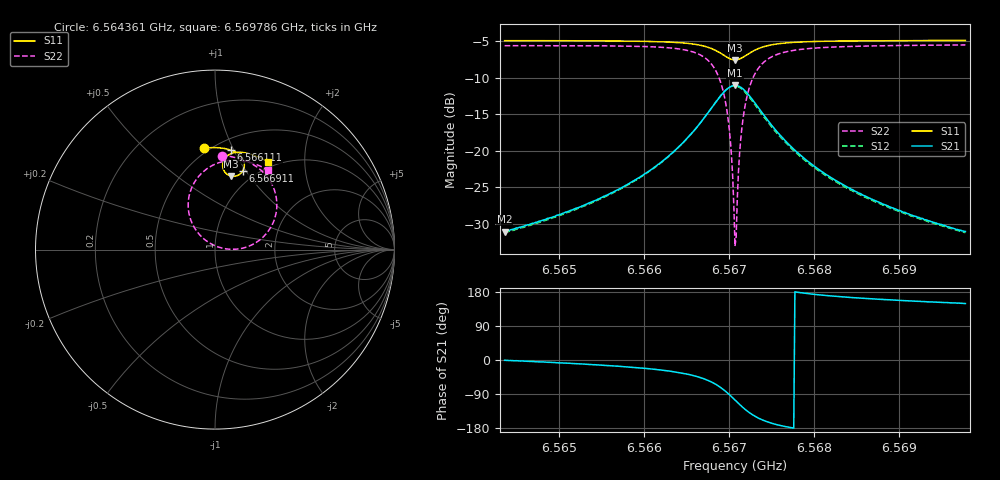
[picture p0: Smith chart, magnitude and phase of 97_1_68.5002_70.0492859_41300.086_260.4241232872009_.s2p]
#  HZ  S  RI  R  50.00
! Rohde & Schwarz Vector Network Analyzer
! Rohde-Schwarz,ZNB20-2Port,1311601062101988,3.16
! Created: UTC 3/20/2024, 5:08:02 PM
! freq[Hz]  re:S11  im:S11  re:S21  im:S21  re:S12  im:S12  re:S22  im:S22
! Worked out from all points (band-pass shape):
!   401 points, 6.564361 GHz to 6.569786 GHz, reference 50 ohm
!   highest |S21| = -11.03 dB at 6.567073 GHz (marker M1); lowest = -31.1 dB at 6.564361 GHz (marker M2)
!   |S21| within 3 dB of the highest: 6.566802 GHz to 6.567346 GHz (543.2 kHz wide, 0.00827 % of centre)
!   lowest |S11| = -7.5 dB at 6.567073 GHz (marker M3), VSWR 2.45, Z = 41.4 + j41.1 ohm
!   |S11| at or under -10 dB: nowhere
!   |S22| runs from -33.0 to -5.5 dB; largest |S21 - S12| = 0.013
!   S11 on the Smith chart (normalised r, x): 6.564361 GHz: 0.47, +0.78; 6.566111 GHz: 0.60, +0.98; 6.566911 GHz: 0.86, +0.97; 6.569786 GHz: 0.91, +1.33
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6.5643615e9  -0.0625 0.5656  0.028 -0.000374  0.0276 -0.000854  0.037 0.5241
6.56527e9  0.0118 0.5678  0.0412 -0.00768  0.0405 -0.00821  0.1231 0.5107
6.5661107e9  0.0904 0.5539  0.0695 -0.0313  0.0686 -0.032  0.2324 0.461
6.5661785e9  0.0976 0.5513  0.0733 -0.0356  0.0722 -0.0365  0.2442 0.4524
6.5664768e9  0.1319 0.532  0.0945 -0.068  0.093 -0.0693  0.3031 0.3884
6.5666938e9  0.1569 0.5007  0.1083 -0.1223  0.1058 -0.1247  0.3423 0.2836
6.5668158e9  0.1636 0.4694  0.1007 -0.177  0.0966 -0.1802  0.3348 0.1795
6.5669108e9  0.1545 0.4381  0.0681 -0.231  0.0606 -0.234  0.2763 0.0782
6.566965e9  0.1394 0.4211  0.0313 -0.2589  0.0214 -0.2603  0.2086 0.0279
6.5670057e9  0.1231 0.412  -0.00557 -0.2724  -0.0168 -0.2717  0.1414 0.00523
6.5670328e9  0.1103 0.4089  -0.033 -0.2758  -0.0449 -0.2733  0.0917 0.00153
6.5670599e9  0.0967 0.4086  -0.0618 -0.2737  -0.0735 -0.2689  0.041 0.00809
6.5670735e9  0.0899 0.4098  -0.0758 -0.2704  -0.0874 -0.2647  0.0163 0.0152
6.5671006e9  0.0769 0.4141  -0.1029 -0.2602  -0.1134 -0.2522  -0.0298 0.0368
6.5671277e9  0.0656 0.4211  -0.1268 -0.2449  -0.136 -0.2354  -0.0698 0.0667
6.5671684e9  0.0524 0.4353  -0.1549 -0.2158  -0.1612 -0.2049  -0.1144 0.1215
6.5672226e9  0.0434 0.457  -0.1763 -0.1725  -0.1792 -0.1614  -0.1445 0.1997
6.5672904e9  0.0435 0.4824  -0.1824 -0.123  -0.182 -0.1132  -0.1464 0.2867
6.5675481e9  0.0832 0.5318  -0.1375 -0.0251  -0.1345 -0.0212  -0.0446 0.4508
6.567982e9  0.1439 0.5422  -0.0801 0.00861  -0.0782 0.00977  0.0861 0.4974
6.5688905e9  0.2283 0.5214  -0.0387 0.0151  -0.0378 0.0152  0.2162 0.4795
6.5697855e9  0.2944 0.489  -0.0241 0.0145  -0.0236 0.0144  0.2944 0.4431
